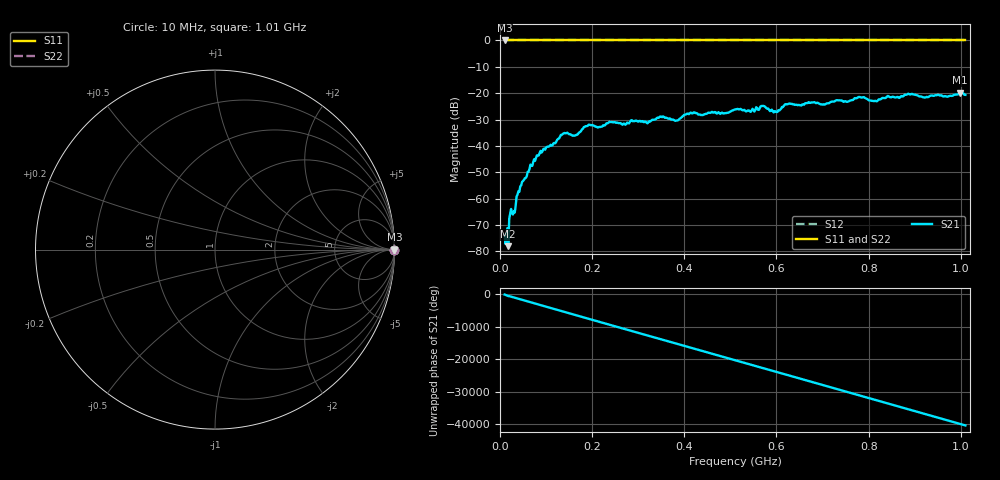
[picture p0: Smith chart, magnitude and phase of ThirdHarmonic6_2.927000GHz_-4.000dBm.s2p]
! 8/17/2025 8:09:43 AM
! C:\ANRITSUVNA\TEMP\TEMP.S2P
! CHANNEL.1
! TR.MEASUREMENT
! RAW.DATA
! RF.CORRECTION.OFF
! AVERAGING.OFF
! IF.BANDWIDTH: 5KHZ
! SWEEPTYPE:  FREQ.SWEEP(Linear)
! Reference Plane Port Info
! PORT:  PORT1  PORT2
! DISTANCE:  0  m  0  m
! TIME:  0  s  0  s
! PHASE.OFFSET:  0  deg.  0  deg.
! LOSS:  0  dB  0  dB
! REF.LOSS:  0  dB  0  dB
! REF.FREQ:  0  Hz  0  Hz
! Power Info
! POWER:  -20  dBm  -20  dBm
! EFF.POWER:  -20  dBm  -20  dBm
! SOURCE.ATTEN:  0  dB  0  dB
! TEST.ATTEN:  0  dB  0  dB
# GHZ S RI R 50.0
! FREQ.GHZ  S11RE  S11IM  S21RE  S21IM  S12RE  S12IM  S22RE  S22IM
!; PortSelection: Port_12
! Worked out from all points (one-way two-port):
!   501 points, 10 MHz to 1.01 GHz, reference 50 ohm
!   highest |S21| = -19.85 dB at 998 MHz (marker M1); lowest = -78.0 dB at 18 MHz (marker M2)
!   lowest |S11| = 0.0 dB at 10 MHz (marker M3)
!   |S11| at or under -10 dB: nowhere
!   |S22| runs from 0.0 to 0.0 dB; largest |S21 - S12| = 1.1
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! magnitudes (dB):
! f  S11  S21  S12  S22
! 10 MHz  0.0  -73.7  0.0  0.0
! 14 MHz  0.0  -74.3  0.0  0.0
! 18 MHz  0.0  -78.0  0.0  0.0
! 24 MHz  0.0  -63.9  0.0  0.0
! 30 MHz  0.0  -64.7  0.0  0.0
! 44 MHz  0.0  -55.3  0.0  0.0
! 84 MHz  0.0  -43.6  0.0  0.0
! 136 MHz  0.0  -35.5  0.0  0.0
! 162 MHz  0.0  -36.1  0.0  0.0
! 178 MHz  0.0  -33.7  0.0  0.0
! 344 MHz  0.0  -29.4  0.0  0.0
! 384 MHz  0.0  -30.3  0.0  0.0
! 418 MHz  0.0  -27.6  0.0  0.0
! 510 MHz  0.0  -26.1  0.0  0.0
! 570 MHz  0.0  -24.8  0.0  0.0
! 598 MHz  0.0  -26.9  0.0  0.0
! 622 MHz  0.0  -24.2  0.0  0.0
! 678 MHz  0.0  -23.5  0.0  0.0
! 814 MHz  0.0  -22.9  0.0  0.0
! 844 MHz  0.0  -21.3  0.0  0.0
! 998 MHz  0.0  -19.8  0.0  0.0
! 1.01 GHz  0.0  -20.6  0.0  0.0
